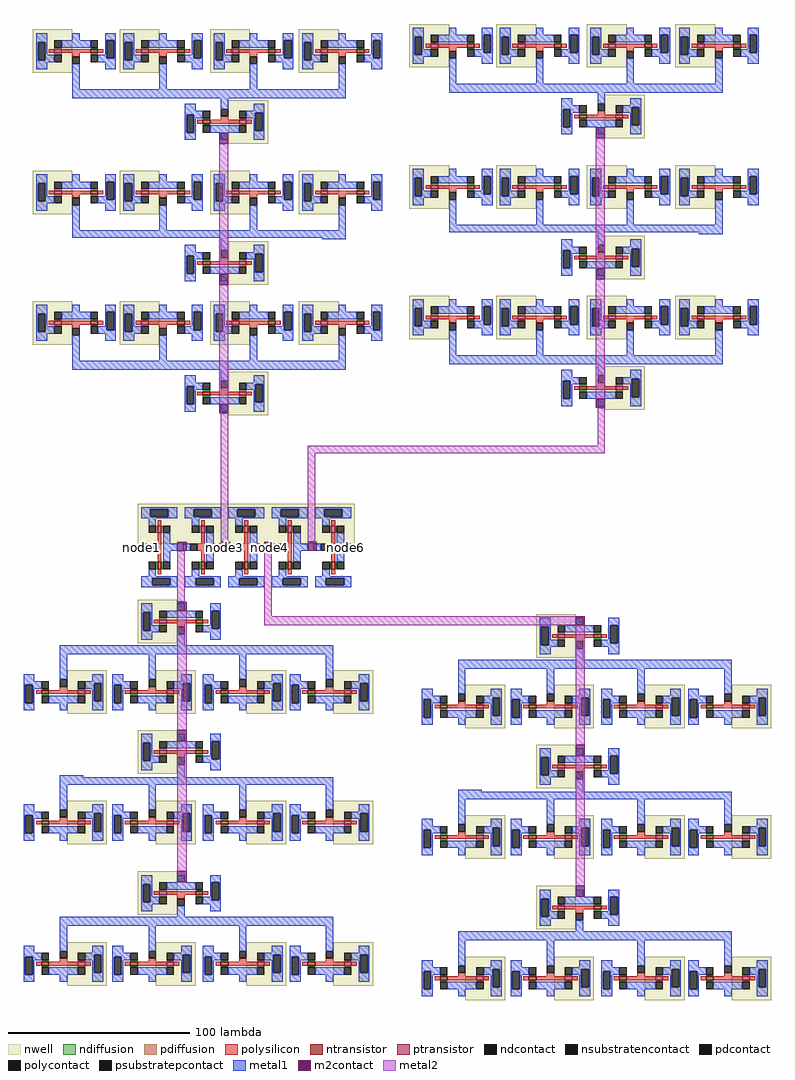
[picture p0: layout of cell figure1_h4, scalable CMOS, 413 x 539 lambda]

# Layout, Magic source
magic
tech scmos
<< metal1 >>
rect -36 275 -32 288
rect 12 275 16 289
rect 62 275 66 289
rect 111 275 115 288
rect -36 270 115 275
rect 172 278 176 291
rect 220 278 224 292
rect 270 278 274 292
rect 319 278 323 291
rect 172 273 323 278
rect 46 265 50 270
rect 254 268 258 273
rect -36 197 -32 210
rect 12 197 16 211
rect 62 197 66 211
rect 111 197 115 210
rect -36 193 115 197
rect 172 200 176 213
rect 220 200 224 214
rect 270 200 274 214
rect 319 200 323 213
rect 172 196 323 200
rect 46 187 50 193
rect 102 192 115 193
rect 254 190 258 196
rect 310 195 323 196
rect -36 125 -32 138
rect 12 125 16 139
rect 62 125 66 139
rect 111 125 115 138
rect -36 120 115 125
rect 172 128 176 141
rect 220 128 224 142
rect 270 128 274 142
rect 319 128 323 141
rect 172 123 323 128
rect 46 115 50 120
rect 254 118 258 123
rect 20 20 22 24
rect 45 20 46 24
rect 69 20 70 24
rect 93 20 94 24
rect 22 -32 26 -27
rect -43 -37 108 -32
rect -43 -50 -39 -37
rect 6 -51 10 -37
rect 56 -51 60 -37
rect 104 -50 108 -37
rect 242 -40 246 -35
rect 177 -45 328 -40
rect 177 -58 181 -45
rect 226 -59 230 -45
rect 276 -59 280 -45
rect 324 -58 328 -45
rect -43 -105 -30 -104
rect 22 -105 26 -99
rect -43 -109 108 -105
rect -43 -122 -39 -109
rect 6 -123 10 -109
rect 56 -123 60 -109
rect 104 -122 108 -109
rect 177 -113 190 -112
rect 242 -113 246 -107
rect 177 -117 328 -113
rect 177 -130 181 -117
rect 226 -131 230 -117
rect 276 -131 280 -117
rect 324 -130 328 -117
rect 22 -182 26 -177
rect -43 -187 108 -182
rect -43 -200 -39 -187
rect 6 -201 10 -187
rect 56 -201 60 -187
rect 104 -200 108 -187
rect 242 -190 246 -185
rect 177 -195 328 -190
rect 177 -208 181 -195
rect 226 -209 230 -195
rect 276 -209 280 -195
rect 324 -208 328 -195
<< m2contact >>
rect 45 245 50 251
rect 253 248 258 254
rect 45 167 50 173
rect 253 170 258 176
rect 45 96 50 101
rect 253 99 258 104
rect 22 20 27 25
rect 46 20 51 25
rect 70 20 75 25
rect 94 20 99 25
rect 22 -13 27 -8
rect 242 -21 247 -16
rect 22 -85 27 -79
rect 242 -93 247 -87
rect 22 -163 27 -157
rect 242 -171 247 -165
<< metal2 >>
rect 45 173 50 245
rect 45 101 50 167
rect 253 176 258 248
rect 253 104 258 170
rect 46 25 50 96
rect 254 78 258 99
rect 94 74 258 78
rect 94 25 98 74
rect 22 -8 26 20
rect 22 -79 27 -13
rect 70 -16 74 20
rect 70 -21 242 -16
rect 22 -157 27 -85
rect 242 -87 247 -21
rect 242 -165 247 -93
use inv  inv_19
transform 0 1 -33 -1 0 -221
box -25 -30 -1 16
use inv  inv_14
transform 0 1 -33 -1 0 -143
box -25 -30 -1 16
use inv  inv_18
transform 0 1 16 -1 0 -221
box -25 -30 -1 16
use inv  inv_13
transform 0 1 16 -1 0 -143
box -25 -30 -1 16
use inv  inv_15
transform 0 -1 16 1 0 -156
box -25 -30 -1 16
use inv  inv_17
transform 0 1 66 -1 0 -221
box -25 -30 -1 16
use inv  inv_12
transform 0 1 66 -1 0 -143
box -25 -30 -1 16
use inv  inv_16
transform 0 1 114 -1 0 -221
box -25 -30 -1 16
use inv  inv_11
transform 0 1 114 -1 0 -143
box -25 -30 -1 16
use inv  inv_10
transform 0 -1 16 1 0 -78
box -25 -30 -1 16
use inv  inv_20
transform 0 1 187 -1 0 -229
box -25 -30 -1 16
use inv  inv_26
transform 0 1 187 -1 0 -151
box -25 -30 -1 16
use inv  inv_23
transform 0 1 286 -1 0 -229
box -25 -30 -1 16
use inv  inv_21
transform 0 1 236 -1 0 -229
box -25 -30 -1 16
use inv  inv_27
transform 0 1 286 -1 0 -151
box -25 -30 -1 16
use inv  inv_22
transform 0 -1 236 1 0 -164
box -25 -30 -1 16
use inv  inv_25
transform 0 1 236 -1 0 -151
box -25 -30 -1 16
use inv  inv_31
transform 0 -1 236 1 0 -86
box -25 -30 -1 16
use inv  inv_24
transform 0 1 334 -1 0 -229
box -25 -30 -1 16
use inv  inv_28
transform 0 1 334 -1 0 -151
box -25 -30 -1 16
use inv  inv_6
transform 0 1 -33 -1 0 -71
box -25 -30 -1 16
use inv  inv_7
transform 0 1 16 -1 0 -71
box -25 -30 -1 16
use inv  inv_8
transform 0 1 66 -1 0 -71
box -25 -30 -1 16
use inv  inv_5
transform 0 -1 16 1 0 -6
box -25 -30 -1 16
use inv  inv_9
transform 0 1 114 -1 0 -71
box -25 -30 -1 16
use inv  inv_0
transform 1 0 25 0 1 30
box -25 -30 -1 16
use inv  inv_1
transform 1 0 49 0 1 30
box -25 -30 -1 16
use inv  inv_2
transform 1 0 73 0 1 30
box -25 -30 -1 16
use inv  inv_3
transform 1 0 97 0 1 30
box -25 -30 -1 16
use inv  inv_4
transform 1 0 121 0 1 30
box -25 -30 -1 16
use inv  inv_30
transform 0 1 187 -1 0 -79
box -25 -30 -1 16
use inv  inv_34
transform 0 -1 236 1 0 -14
box -25 -30 -1 16
use inv  inv_32
transform 0 1 286 -1 0 -79
box -25 -30 -1 16
use inv  inv_29
transform 0 1 236 -1 0 -79
box -25 -30 -1 16
use inv  inv_33
transform 0 1 334 -1 0 -79
box -25 -30 -1 16
use inv  inv_47
transform 0 -1 6 1 0 159
box -25 -30 -1 16
use inv  inv_49
transform 0 -1 -42 1 0 159
box -25 -30 -1 16
use inv  inv_44
transform 0 -1 105 1 0 159
box -25 -30 -1 16
use inv  inv_48
transform 0 1 56 -1 0 94
box -25 -30 -1 16
use inv  inv_46
transform 0 -1 56 1 0 159
box -25 -30 -1 16
use inv  inv_63
transform 0 1 264 -1 0 97
box -25 -30 -1 16
use inv  inv_61
transform 0 -1 264 1 0 162
box -25 -30 -1 16
use inv  inv_62
transform 0 -1 214 1 0 162
box -25 -30 -1 16
use inv  inv_64
transform 0 -1 166 1 0 162
box -25 -30 -1 16
use inv  inv_59
transform 0 -1 313 1 0 162
box -25 -30 -1 16
use inv  inv_41
transform 0 -1 6 1 0 231
box -25 -30 -1 16
use inv  inv_39
transform 0 -1 6 1 0 309
box -25 -30 -1 16
use inv  inv_42
transform 0 -1 -42 1 0 231
box -25 -30 -1 16
use inv  inv_43
transform 0 -1 -42 1 0 309
box -25 -30 -1 16
use inv  inv_36
transform 0 -1 105 1 0 231
box -25 -30 -1 16
use inv  inv_35
transform 0 -1 105 1 0 309
box -25 -30 -1 16
use inv  inv_38
transform 0 1 56 -1 0 244
box -25 -30 -1 16
use inv  inv_40
transform 0 -1 56 1 0 231
box -25 -30 -1 16
use inv  inv_37
transform 0 -1 56 1 0 309
box -25 -30 -1 16
use inv  inv_45
transform 0 1 56 -1 0 166
box -25 -30 -1 16
use inv  inv_53
transform 0 1 264 -1 0 247
box -25 -30 -1 16
use inv  inv_55
transform 0 -1 264 1 0 234
box -25 -30 -1 16
use inv  inv_52
transform 0 -1 264 1 0 312
box -25 -30 -1 16
use inv  inv_56
transform 0 -1 214 1 0 234
box -25 -30 -1 16
use inv  inv_54
transform 0 -1 214 1 0 312
box -25 -30 -1 16
use inv  inv_57
transform 0 -1 166 1 0 234
box -25 -30 -1 16
use inv  inv_58
transform 0 -1 166 1 0 312
box -25 -30 -1 16
use inv  inv_60
transform 0 1 264 -1 0 169
box -25 -30 -1 16
use inv  inv_51
transform 0 -1 313 1 0 234
box -25 -30 -1 16
use inv  inv_50
transform 0 -1 313 1 0 312
box -25 -30 -1 16
<< labels >>
rlabel space 2 22 2 22 1 node1
rlabel m2contact 23 22 23 22 1 node2
rlabel m2contact 48 22 48 22 1 node3
rlabel m2contact 73 22 73 22 1 node4
rlabel m2contact 95 22 95 22 1 node5
rlabel space 115 22 115 22 1 node6
<< end >>

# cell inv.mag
magic
tech scmos
<< nwell >>
rect -25 -6 -1 16
<< ntransistor >>
rect -14 -20 -12 -16
<< ptransistor >>
rect -14 0 -12 4
<< ndiffusion >>
rect -15 -20 -14 -16
rect -12 -20 -11 -16
<< pdiffusion >>
rect -15 0 -14 4
rect -12 0 -11 4
<< ndcontact >>
rect -19 -20 -15 -16
rect -11 -20 -7 -16
<< pdcontact >>
rect -19 0 -15 4
rect -11 0 -7 4
<< psubstratepcontact >>
rect -17 -29 -7 -25
<< nsubstratencontact >>
rect -18 9 -8 13
<< polysilicon >>
rect -14 4 -12 7
rect -14 -6 -12 0
rect -16 -10 -12 -6
rect -14 -16 -12 -10
rect -14 -23 -12 -20
<< polycontact >>
rect -20 -10 -16 -6
<< metal1 >>
rect -23 13 -3 14
rect -23 9 -18 13
rect -8 9 -3 13
rect -23 8 -3 9
rect -19 4 -15 8
rect -11 -6 -7 0
rect -24 -10 -20 -6
rect -11 -10 -3 -6
rect -11 -16 -7 -10
rect -19 -24 -15 -20
rect -23 -25 -3 -24
rect -23 -29 -17 -25
rect -7 -29 -3 -25
rect -23 -30 -3 -29
<< labels >>
rlabel metal1 -21 -26 -21 -26 2 Gnd
rlabel metal1 -22 12 -22 12 4 Vdd
<< end >>
